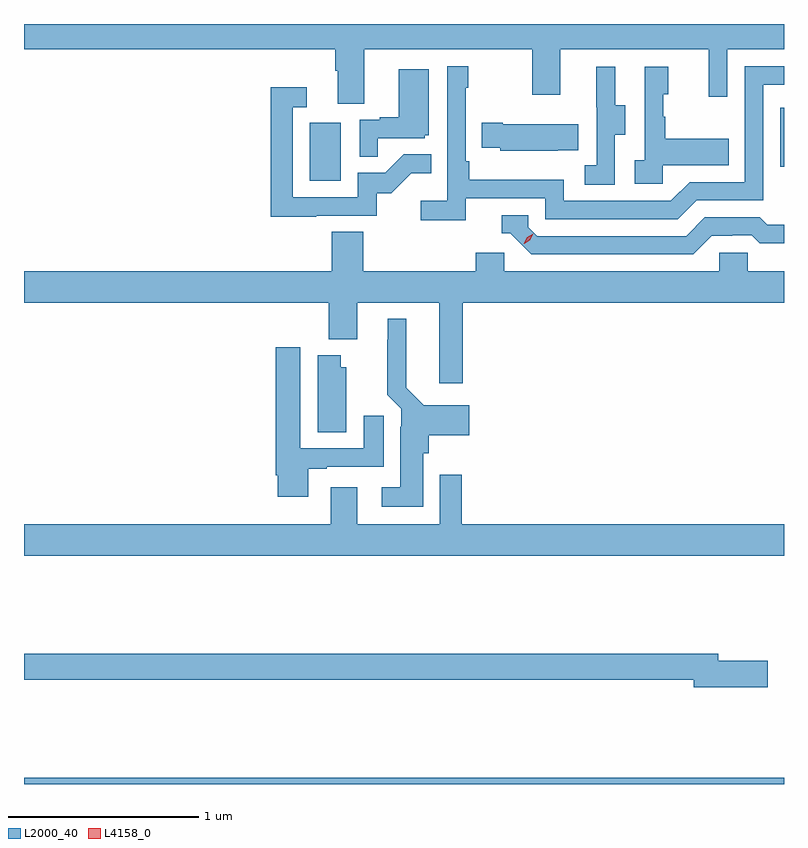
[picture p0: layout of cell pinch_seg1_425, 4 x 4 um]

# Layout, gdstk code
import gdstk
lib = gdstk.Library(unit=1e-6, precision=1e-09)
def R(c, l, rs):  # rectangles x0, y0, x1, y1
    for r in rs: c.add(gdstk.rectangle(r[:2], r[2:], *l))
def P(c, l, *ps):  # polygons
    for p in ps: c.add(gdstk.Polygon(p, *l))
L2000_40 = (2000, 40)
L4158_0 = (4158, 0)

pinch_seg1_425 = lib.new_cell('pinch_seg1_425')
R(pinch_seg1_425, L2000_40, [(947.032,517.23,951.032,517.264), (948.536,520.404,948.7,520.711), (951.012,520.479,951.032,520.788)])
P(pinch_seg1_425, L2000_40, [(948.823,521.096),(949.708,521.096),(949.708,520.857),(949.855,520.857),(949.855,521.096),(950.636,521.096),(950.636,520.847),(950.733,520.847),(950.733,521.096),(951.032,521.096),(951.032,521.23),(947.032,521.23),(947.032,521.096),(948.671,521.096),(948.671,520.984),(948.683,520.984),(948.683,520.81),(948.823,520.81)],
  [(949.358,520.314),(949.776,520.314),(949.776,520.203),(950.473,520.203),(950.572,520.302),(950.922,520.302),(950.922,520.911),(951.032,520.911),(951.032,521.007),(950.826,521.007),(950.826,520.398),(950.535,520.398),(950.436,520.299),(949.872,520.299),(949.872,520.411),(949.376,520.411),(949.376,520.507),(949.356,520.507),(949.356,520.895),(949.369,520.895),(949.369,521.008),(949.26,521.008),(949.26,520.3),(949.119,520.3),(949.119,520.198),(949.358,520.198)],
  [(950.142,520.648),(950.197,520.648),(950.197,520.803),(950.143,520.803),(950.143,521.005),(950.045,521.005),(950.045,520.791),(950.046,520.791),(950.046,520.487),(949.983,520.487),(949.983,520.384),(950.142,520.384)],
  [(950.394,520.487),(950.741,520.487),(950.741,520.627),(950.407,520.627),(950.407,520.742),(950.397,520.742),(950.397,520.86),(950.422,520.86),(950.422,521.005),(950.298,521.005),(950.298,520.514),(950.247,520.514),(950.247,520.389),(950.394,520.389)],
  [(948.893,520.629),(949.14,520.629),(949.14,520.644),(949.162,520.644),(949.162,520.993),(949.004,520.993),(949.004,520.738),(948.905,520.738),(948.905,520.725),(948.798,520.725),(948.798,520.531),(948.893,520.531)],
  [(948.569,520.221),(948.888,520.221),(948.888,520.338),(948.964,520.338),(949.071,520.445),(949.175,520.445),(949.175,520.544),(949.031,520.544),(948.933,520.446),(948.789,520.446),(948.789,520.317),(948.447,520.317),(948.447,520.791),(948.52,520.791),(948.52,520.897),(948.331,520.897),(948.331,520.216),(948.569,520.216)],
  [(949.841,520.565),(949.949,520.565),(949.949,520.702),(949.552,520.702),(949.552,520.71),(949.441,520.71),(949.441,520.58),(949.539,520.58),(949.539,520.562),(949.841,520.562)],
  [(950.653,520.116),(950.76,520.116),(950.76,520.119),(950.863,520.119),(950.905,520.077),(951.032,520.077),(951.032,520.173),(950.944,520.173),(950.905,520.212),(950.616,520.212),(950.517,520.113),(949.734,520.113),(949.686,520.161),(949.686,520.224),(949.547,520.224),(949.547,520.128),(949.59,520.128),(949.701,520.017),(950.554,520.017)],
  [(949.34,519.764),(951.032,519.764),(951.032,519.928),(950.841,519.928),(950.841,520.026),(950.691,520.026),(950.691,519.928),(949.56,519.928),(949.56,520.026),(949.409,520.026),(949.409,519.928),(948.818,519.928),(948.818,520.136),(948.653,520.136),(948.653,519.928),(947.032,519.928),(947.032,519.764),(948.635,519.764),(948.635,519.572),(948.787,519.572),(948.787,519.764),(949.217,519.764),(949.217,519.339),(949.34,519.339)],
  [(949.132,518.97),(949.163,518.97),(949.163,519.065),(949.375,519.065),(949.375,519.223),(949.137,519.223),(949.045,519.316),(949.045,519.679),(948.947,519.679),(948.947,519.569),(948.943,519.569),(948.943,519.278),(949.017,519.204),(949.017,519.11),(949.013,519.11),(949.013,518.791),(948.915,518.791),(948.915,518.69),(949.132,518.69)],
  [(948.529,518.889),(948.625,518.889),(948.625,518.901),(948.925,518.901),(948.925,519.169),(948.821,519.169),(948.821,518.997),(948.487,518.997),(948.487,519.529),(948.356,519.529),(948.356,518.854),(948.368,518.854),(948.368,518.742),(948.529,518.742)],
  [(948.727,519.423),(948.7,519.423),(948.7,519.487),(948.578,519.487),(948.578,519.082),(948.727,519.082)],
  [(951.032,518.596),(949.337,518.596),(949.337,518.857),(949.221,518.857),(949.221,518.596),(948.787,518.596),(948.787,518.791),(948.647,518.791),(948.647,518.596),(947.032,518.596),(947.032,518.432),(951.032,518.432)],
  [(950.947,517.88),(950.686,517.88),(950.686,517.916),(947.032,517.916),(947.032,517.78),(950.558,517.78),(950.558,517.738),(950.947,517.738)])
P(pinch_seg1_425, L4158_0, [(949.663,520.074),(949.663,520.074),(949.68,520.107),(949.711,520.126),(949.711,520.126),(949.711,520.126),(949.695,520.093),(949.664,520.074)])

lib.write_gds('pinch_seg1_425.gds')
